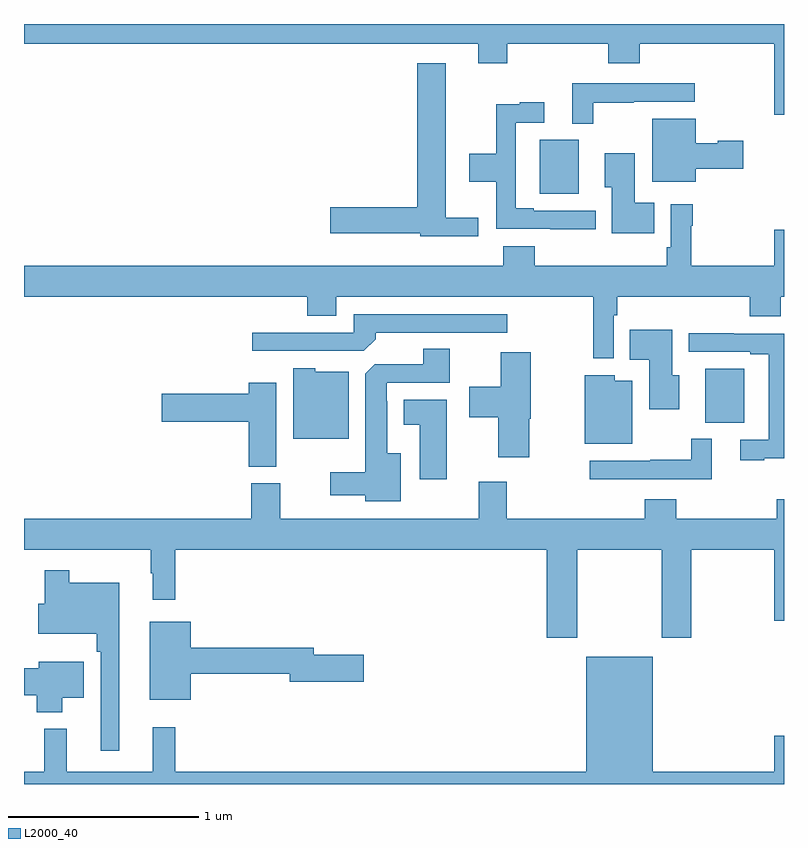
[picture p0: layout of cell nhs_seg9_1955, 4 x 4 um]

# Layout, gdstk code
import gdstk
lib = gdstk.Library(unit=1e-6, precision=1e-09)
def R(c, l, rs):  # rectangles x0, y0, x1, y1
    for r in rs: c.add(gdstk.rectangle(r[:2], r[2:], *l))
def P(c, l, *ps):  # polygons
    for p in ps: c.add(gdstk.Polygon(p, *l))
L2000_40 = (2000, 40)

nhs_seg9_1955 = lib.new_cell('nhs_seg9_1955')
R(nhs_seg9_1955, L2000_40, [(224.585,1218.401,224.791,1218.685), (223.715,1219.607,223.921,1219.891)])
P(nhs_seg9_1955, L2000_40, [(225,1220.5),(221,1220.5),(221,1220.396),(223.391,1220.396),(223.391,1220.294),(223.544,1220.294),(223.544,1220.396),(224.075,1220.396),(224.075,1220.294),(224.24,1220.294),(224.24,1220.396),(224.948,1220.396),(224.948,1220.022),(225,1220.022)],
  [(223.39,1219.481),(223.219,1219.481),(223.219,1220.293),(223.07,1220.293),(223.07,1219.535),(222.612,1219.535),(222.612,1219.4),(223.086,1219.4),(223.086,1219.382),(223.39,1219.382)],
  [(223.996,1220.086),(224.21,1220.086),(224.21,1220.091),(224.53,1220.091),(224.53,1220.187),(223.886,1220.187),(223.886,1219.976),(223.996,1219.976)],
  [(224.008,1219.518),(223.684,1219.518),(223.684,1219.531),(223.587,1219.531),(223.587,1219.98),(223.738,1219.98),(223.738,1220.089),(223.61,1220.089),(223.61,1220.078),(223.486,1220.078),(223.486,1219.818),(223.344,1219.818),(223.344,1219.67),(223.486,1219.67),(223.486,1219.422),(223.771,1219.422),(223.771,1219.421),(224.008,1219.421)],
  [(224.536,1219.739),(224.785,1219.739),(224.785,1219.886),(224.652,1219.886),(224.652,1219.873),(224.536,1219.873),(224.536,1220.002),(224.306,1220.002),(224.306,1219.67),(224.536,1219.67)],
  [(224.318,1219.558),(224.215,1219.558),(224.215,1219.819),(224.057,1219.819),(224.057,1219.642),(224.093,1219.642),(224.093,1219.4),(224.318,1219.4)],
  [(224.103,1218.968),(224.123,1218.968),(224.123,1219.064),(224.819,1219.064),(224.819,1218.962),(224.984,1218.962),(224.984,1219.064),(225,1219.064),(225,1219.417),(224.948,1219.417),(224.948,1219.228),(224.512,1219.228),(224.512,1219.439),(224.519,1219.439),(224.519,1219.552),(224.403,1219.552),(224.403,1219.324),(224.383,1219.324),(224.383,1219.228),(223.688,1219.228),(223.688,1219.33),(223.523,1219.33),(223.523,1219.228),(221,1219.228),(221,1219.064),(222.491,1219.064),(222.491,1218.965),(222.643,1218.965),(222.643,1219.064),(223.995,1219.064),(223.995,1218.741),(224.103,1218.741)],
  [(222.851,1218.842),(222.851,1218.876),(223.543,1218.876),(223.543,1218.972),(222.735,1218.972),(222.735,1218.876),(222.201,1218.876),(222.201,1218.78),(222.789,1218.78)],
  [(224.449,1218.651),(224.413,1218.651),(224.413,1218.892),(224.188,1218.892),(224.188,1218.734),(224.291,1218.734),(224.291,1218.473),(224.449,1218.473)],
  [(224.897,1218.215),(225,1218.215),(225,1218.87),(224.735,1218.87),(224.735,1218.872),(224.498,1218.872),(224.498,1218.774),(224.822,1218.774),(224.822,1218.762),(224.919,1218.762),(224.919,1218.312),(224.769,1218.312),(224.769,1218.204),(224.897,1218.204)],
  [(222.982,1218.241),(222.913,1218.241),(222.913,1218.515),(222.909,1218.515),(222.909,1218.612),(223.24,1218.612),(223.24,1218.791),(223.1,1218.791),(223.1,1218.708),(222.846,1218.708),(222.797,1218.659),(222.797,1218.142),(222.612,1218.142),(222.612,1218.02),(222.797,1218.02),(222.797,1217.987),(222.982,1217.987)],
  [(223.659,1218.423),(223.666,1218.423),(223.666,1218.772),(223.508,1218.772),(223.508,1218.592),(223.344,1218.592),(223.344,1218.43),(223.496,1218.43),(223.496,1218.219),(223.659,1218.219)],
  [(222.709,1218.67),(222.534,1218.67),(222.534,1218.688),(222.416,1218.688),(222.416,1218.317),(222.709,1218.317)],
  [(224.2,1218.622),(224.11,1218.622),(224.11,1218.652),(223.952,1218.652),(223.952,1218.29),(224.2,1218.29)],
  [(222.328,1218.613),(222.182,1218.613),(222.182,1218.554),(221.724,1218.554),(221.724,1218.407),(222.182,1218.407),(222.182,1218.169),(222.328,1218.169)],
  [(223.225,1218.523),(222.998,1218.523),(222.998,1218.392),(223.082,1218.392),(223.082,1218.105),(223.225,1218.105)],
  [(224.62,1218.316),(224.511,1218.316),(224.511,1218.206),(224.296,1218.206),(224.296,1218.201),(223.977,1218.201),(223.977,1218.105),(224.62,1218.105)],
  [(224.511,1217.732),(224.948,1217.732),(224.948,1217.358),(225,1217.358),(225,1217.998),(224.963,1217.998),(224.963,1217.896),(224.432,1217.896),(224.432,1217.998),(224.267,1217.998),(224.267,1217.896),(223.542,1217.896),(223.542,1218.091),(223.394,1218.091),(223.394,1217.896),(222.349,1217.896),(222.349,1218.084),(222.197,1218.084),(222.197,1217.896),(221,1217.896),(221,1217.732),(221.667,1217.732),(221.667,1217.609),(221.678,1217.609),(221.678,1217.469),(221.795,1217.469),(221.795,1217.732),(223.751,1217.732),(223.751,1217.271),(223.911,1217.271),(223.911,1217.732),(224.356,1217.732),(224.356,1217.271),(224.511,1217.271)],
  [(221.5,1217.56),(221.239,1217.56),(221.239,1217.626),(221.11,1217.626),(221.11,1217.449),(221.076,1217.449),(221.076,1217.291),(221.383,1217.291),(221.383,1217.195),(221.403,1217.195),(221.403,1216.674),(221.5,1216.674)],
  [(221.878,1217.08),(222.398,1217.08),(222.398,1217.038),(222.787,1217.038),(222.787,1217.18),(222.526,1217.18),(222.526,1217.216),(221.878,1217.216),(221.878,1217.353),(221.663,1217.353),(221.663,1216.943),(221.878,1216.943)],
  [(225,1216.753),(224.948,1216.753),(224.948,1216.564),(224.308,1216.564),(224.308,1217.17),(223.958,1217.17),(223.958,1216.564),(221.795,1216.564),(221.795,1216.798),(221.678,1216.798),(221.678,1216.564),(221.225,1216.564),(221.225,1216.792),(221.107,1216.792),(221.107,1216.564),(221,1216.564),(221,1216.5),(225,1216.5)],
  [(221.2,1216.955),(221.314,1216.955),(221.314,1217.143),(221.078,1217.143),(221.078,1217.108),(221,1217.108),(221,1216.966),(221.066,1216.966),(221.066,1216.877),(221.2,1216.877)])

lib.write_gds('nhs_seg9_1955.gds')
